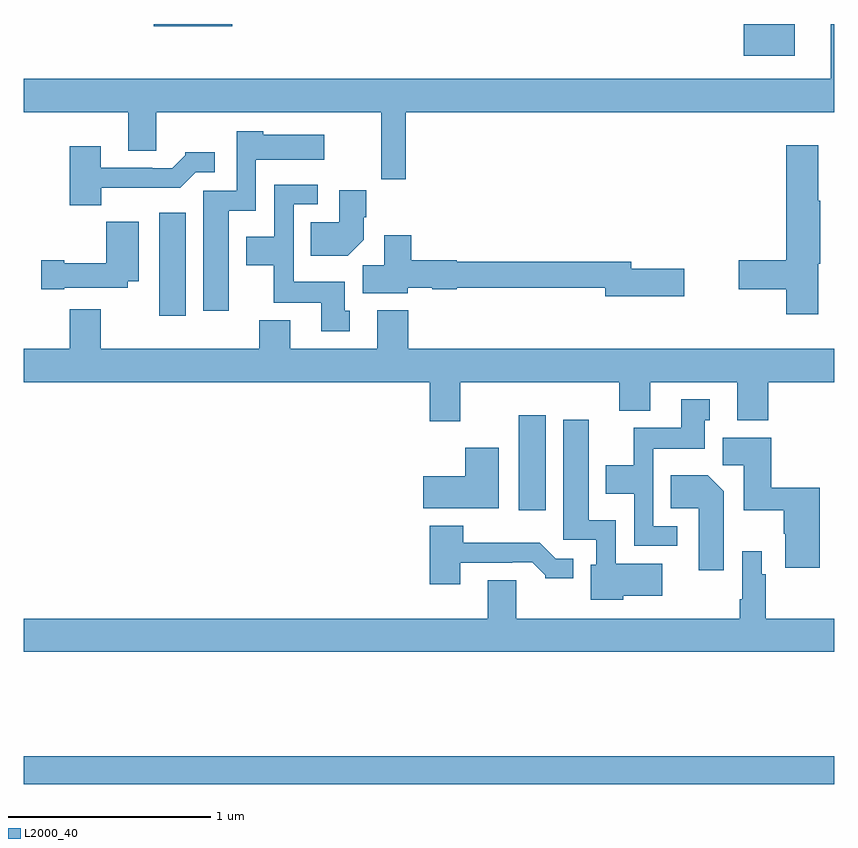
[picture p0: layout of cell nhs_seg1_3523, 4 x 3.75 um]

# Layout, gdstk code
import gdstk
lib = gdstk.Library(unit=1e-6, precision=1e-09)
def R(c, l, rs):  # rectangles x0, y0, x1, y1
    for r in rs: c.add(gdstk.rectangle(r[:2], r[2:], *l))
def P(c, l, *ps):  # polygons
    for p in ps: c.add(gdstk.Polygon(p, *l))
L2000_40 = (2000, 40)

nhs_seg1_3523 = lib.new_cell('nhs_seg1_3523')
R(nhs_seg1_3523, L2000_40, [(303,516.448,307,516.584), (305.444,517.8,305.575,518.269), (303.668,518.76,303.799,519.268), (306.554,520.043,306.805,520.199), (303.642,520.187,304.03,520.199)])
P(nhs_seg1_3523, L2000_40, [(304.886,519.764),(307,519.764),(307,520.199),(306.983,520.199),(306.983,519.928),(303,519.928),(303,519.764),(303.515,519.764),(303.515,519.574),(303.655,519.574),(303.655,519.764),(304.765,519.764),(304.765,519.432),(304.886,519.432)],
  [(304.012,519.278),(304.146,519.278),(304.146,519.53),(304.483,519.53),(304.483,519.652),(304.182,519.652),(304.182,519.67),(304.05,519.67),(304.05,519.375),(303.887,519.375),(303.887,518.784),(304.012,518.784)],
  [(306.922,519.015),(306.93,519.015),(306.93,519.326),(306.922,519.326),(306.922,519.601),(306.764,519.601),(306.764,519.032),(306.528,519.032),(306.528,518.89),(306.764,518.89),(306.764,518.766),(306.922,518.766)],
  [(303.382,519.392),(303.773,519.392),(303.849,519.468),(303.943,519.468),(303.943,519.565),(303.798,519.565),(303.798,519.55),(303.734,519.486),(303.635,519.486),(303.635,519.489),(303.379,519.489),(303.379,519.595),(303.227,519.595),(303.227,519.305),(303.382,519.305)],
  [(304.609,518.784),(304.585,518.784),(304.585,518.926),(304.332,518.926),(304.332,519.309),(304.45,519.309),(304.45,519.405),(304.236,519.405),(304.236,519.148),(304.097,519.148),(304.097,519.008),(304.234,519.008),(304.234,518.822),(304.469,518.822),(304.469,518.682),(304.609,518.682)],
  [(304.678,519.134),(304.678,519.244),(304.691,519.244),(304.691,519.379),(304.556,519.379),(304.556,519.22),(304.417,519.22),(304.417,519.056),(304.6,519.056)],
  [(303.199,518.897),(303.513,518.897),(303.513,518.93),(303.568,518.93),(303.568,519.223),(303.406,519.223),(303.406,519.019),(303.199,519.019),(303.199,519.032),(303.087,519.032),(303.087,518.89),(303.199,518.89)],
  [(306.259,518.99),(305.998,518.99),(305.998,519.026),(305.136,519.026),(305.136,519.034),(304.913,519.034),(304.913,519.157),(304.778,519.157),(304.778,519.008),(304.673,519.008),(304.673,518.87),(304.896,518.87),(304.896,518.897),(305.016,518.897),(305.016,518.89),(305.136,518.89),(305.136,518.898),(305.87,518.898),(305.87,518.855),(306.259,518.855)],
  [(305.155,518.432),(305.939,518.432),(305.939,518.291),(306.091,518.291),(306.091,518.432),(306.521,518.432),(306.521,518.243),(306.674,518.243),(306.674,518.432),(307,518.432),(307,518.596),(304.898,518.596),(304.898,518.785),(304.745,518.785),(304.745,518.596),(304.315,518.596),(304.315,518.737),(304.163,518.737),(304.163,518.596),(303.379,518.596),(303.379,518.791),(303.227,518.791),(303.227,518.596),(303,518.596),(303,518.432),(305.003,518.432),(305.003,518.238),(305.155,518.238)],
  [(306.226,517.719),(306.108,517.719),(306.108,518.102),(306.361,518.102),(306.361,518.244),(306.385,518.244),(306.385,518.347),(306.245,518.347),(306.245,518.206),(306.01,518.206),(306.01,518.02),(305.873,518.02),(305.873,517.88),(306.012,517.88),(306.012,517.623),(306.226,517.623)],
  [(305.958,517.376),(306.151,517.376),(306.151,517.534),(305.922,517.534),(305.922,517.75),(305.788,517.75),(305.788,518.245),(305.663,518.245),(305.663,517.653),(305.826,517.653),(305.826,517.53),(305.798,517.53),(305.798,517.358),(305.958,517.358)],
  [(306.929,517.909),(306.689,517.909),(306.689,518.158),(306.449,518.158),(306.449,518.02),(306.554,518.02),(306.554,517.799),(306.751,517.799),(306.751,517.684),(306.758,517.684),(306.758,517.515),(306.929,517.515)],
  [(305.344,518.107),(305.18,518.107),(305.18,517.966),(304.971,517.966),(304.971,517.808),(305.344,517.808)],
  [(306.454,517.894),(306.376,517.972),(306.193,517.972),(306.193,517.808),(306.332,517.808),(306.332,517.503),(306.454,517.503)],
  [(305.155,517.539),(305.411,517.539),(305.411,517.542),(305.51,517.542),(305.574,517.478),(305.574,517.463),(305.713,517.463),(305.713,517.56),(305.625,517.56),(305.547,517.639),(305.168,517.639),(305.168,517.723),(305.003,517.723),(305.003,517.434),(305.155,517.434)],
  [(307,517.264),(306.662,517.264),(306.662,517.484),(306.642,517.484),(306.642,517.597),(306.546,517.597),(306.546,517.36),(306.534,517.36),(306.534,517.264),(305.431,517.264),(305.431,517.454),(305.291,517.454),(305.291,517.264),(303,517.264),(303,517.1),(307,517.1)])

lib.write_gds('nhs_seg1_3523.gds')
